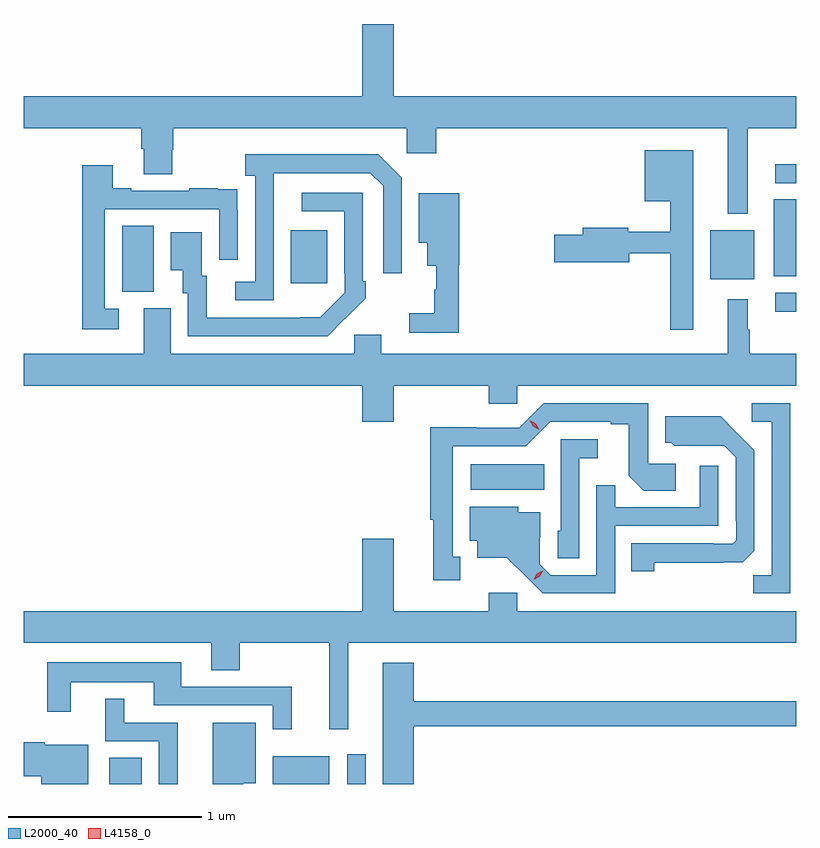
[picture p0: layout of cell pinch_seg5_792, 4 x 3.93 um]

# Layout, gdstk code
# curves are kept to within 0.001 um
import gdstk
lib = gdstk.Library(unit=1e-6, precision=1e-09)
def R(c, l, rs):  # rectangles x0, y0, x1, y1
    for r in rs: c.add(gdstk.rectangle(r[:2], r[2:], *l))
def P(c, l, *ps):  # polygons
    for p in ps: c.add(gdstk.Polygon(p, *l))
L2000_40 = (2000, 40)
L4158_0 = (4158, 0)

pinch_seg5_792 = lib.new_cell('pinch_seg5_792')
R(pinch_seg5_792, L2000_40, [(787.076,907.978,787.243,908.114), (787.922,907.978,788.215,908.122), (788.307,907.978,788.403,908.131), (788.946,909.5,789.326,909.634), (790.521,910.423,790.632,910.521), (787.142,910.525,787.306,910.868), (788.015,910.569,788.203,910.843), (790.187,910.589,790.414,910.843), (790.514,910.606,790.632,911.003), (790.521,911.088,790.632,911.184)])
P(pinch_seg5_792, L2000_40, [(790.381,911.372),(790.632,911.372),(790.632,911.536),(788.548,911.536),(788.548,911.911),(788.384,911.911),(788.384,911.536),(786.632,911.536),(786.632,911.372),(787.241,911.372),(787.241,911.266),(787.253,911.266),(787.253,911.134),(787.401,911.134),(787.401,911.259),(787.406,911.259),(787.406,911.372),(788.616,911.372),(788.616,911.241),(788.768,911.241),(788.768,911.372),(790.277,911.372),(790.277,910.928),(790.381,910.928)],
  [(790.099,911.257),(789.848,911.257),(789.848,910.994),(789.978,910.994),(789.978,910.837),(789.762,910.837),(789.762,910.856),(789.527,910.856),(789.527,910.82),(789.378,910.82),(789.378,910.678),(789.766,910.678),(789.766,910.724),(789.978,910.724),(789.978,910.329),(790.099,910.329)],
  [(787.926,910.939),(787.927,911.139),(788.427,911.139),(788.493,911.073),(788.493,910.62),(788.589,910.62),(788.589,911.115),(788.468,911.236),(787.779,911.236),(787.779,911.126),(787.83,911.126),(787.83,910.578),(787.728,910.578),(787.728,910.482),(787.926,910.482)],
  [(787.126,910.437),(787.053,910.437),(787.053,910.953),(787.644,910.953),(787.644,910.692),(787.74,910.692),(787.74,910.946),(787.739,910.946),(787.739,911.055),(787.637,911.055),(787.637,911.062),(787.489,911.062),(787.489,911.049),(787.189,911.049),(787.189,911.062),(787.093,911.062),(787.093,911.179),(786.937,911.179),(786.937,910.332),(787.126,910.332)],
  [(788.297,910.387),(788.298,910.386),(788.403,910.491),(788.403,910.579),(788.388,910.579),(788.388,911.037),(788.073,911.037),(788.073,910.941),(788.292,910.941),(788.292,910.621),(788.295,910.621),(788.295,910.521),(788.167,910.393),(787.579,910.392),(787.579,910.608),(787.555,910.608),(787.555,910.834),(787.394,910.834),(787.394,910.637),(787.457,910.637),(787.457,910.518),(787.482,910.518),(787.482,910.296),(788.206,910.296)],
  [(788.885,910.665),(788.886,910.665),(788.886,911.035),(788.678,911.035),(788.678,910.778),(788.72,910.778),(788.72,910.661),(788.768,910.661),(788.768,910.536),(788.757,910.536),(788.757,910.413),(788.628,910.413),(788.628,910.314),(788.885,910.314)],
  [(788.548,910.04),(789.04,910.04),(789.04,909.947),(789.186,909.947),(789.186,910.04),(790.632,910.04),(790.632,910.204),(790.391,910.204),(790.391,910.328),(790.381,910.328),(790.381,910.486),(790.277,910.486),(790.277,910.204),(788.482,910.204),(788.482,910.302),(788.343,910.302),(788.343,910.204),(787.393,910.204),(787.393,910.44),(787.253,910.44),(787.253,910.204),(786.632,910.204),(786.632,910.04),(788.384,910.04),(788.384,909.852),(788.548,909.852)],
  [(788.893,909.153),(788.854,909.153),(788.854,909.726),(789.231,909.726),(789.357,909.852),(789.671,909.852),(789.671,909.84),(789.765,909.84),(789.765,909.572),(789.841,909.496),(790.006,909.496),(790.006,909.636),(789.864,909.636),(789.864,909.948),(789.324,909.948),(789.198,909.822),(788.976,909.822),(788.976,909.824),(788.736,909.824),(788.736,909.345),(788.753,909.345),(788.753,909.033),(788.893,909.033)],
  [(790.599,909.948),(790.401,909.948),(790.401,909.852),(790.503,909.852),(790.503,909.059),(790.408,909.059),(790.408,908.964),(790.599,908.964)],
  [(789.897,909.124),(790.354,909.125),(790.413,909.184),(790.413,909.706),(790.241,909.88),(789.953,909.88),(789.953,909.744),(789.984,909.744),(790,909.728),(790.257,909.729),(790.317,909.669),(790.317,909.34),(790.32,909.34),(790.32,909.24),(790.302,909.222),(790.202,909.222),(790.202,909.225),(789.778,909.225),(789.778,909.078),(789.897,909.078)],
  [(789.507,909.665),(789.604,909.665),(789.604,909.762),(789.411,909.762),(789.411,909.288),(789.396,909.288),(789.396,909.145),(789.507,909.145)],
  [(789.693,909.315),(790.227,909.315),(790.227,909.625),(790.131,909.625),(790.131,909.411),(789.695,909.411),(789.695,909.524),(789.597,909.524),(789.597,909.057),(789.36,909.057),(789.303,909.114),(789.303,909.256),(789.307,909.256),(789.307,909.385),(789.192,909.385),(789.192,909.412),(788.942,909.412),(788.942,909.236),(788.981,909.236),(788.981,909.149),(789.133,909.149),(789.32,908.964),(789.693,908.964)],
  [(788.312,908.708),(790.632,908.708),(790.632,908.872),(789.186,908.872),(789.186,908.968),(789.04,908.968),(789.04,908.872),(788.548,908.872),(788.548,909.247),(788.384,909.247),(788.384,908.872),(786.632,908.872),(786.632,908.708),(787.604,908.708),(787.604,908.566),(787.752,908.566),(787.752,908.708),(788.213,908.708),(788.213,908.262),(788.312,908.262)],
  [(788.021,908.481),(787.447,908.481),(787.447,908.608),(786.756,908.608),(786.756,908.352),(786.877,908.352),(786.877,908.504),(787.307,908.504),(787.307,908.385),(787.923,908.385),(787.923,908.262),(788.021,908.262)],
  [(788.651,908.278),(790.632,908.278),(790.632,908.407),(788.651,908.407),(788.651,908.605),(788.492,908.605),(788.492,907.978),(788.651,907.978)],
  [(787.43,908.295),(787.153,908.295),(787.153,908.419),(787.055,908.419),(787.055,908.199),(787.332,908.199),(787.332,907.978),(787.43,907.978)],
  [(787.768,907.982),(787.834,907.982),(787.834,908.296),(787.61,908.296),(787.61,907.978),(787.768,907.978)],
  [(786.967,908.182),(786.741,908.182),(786.741,908.195),(786.632,908.195),(786.632,908.017),(786.725,908.017),(786.725,907.978),(786.967,907.978)])
P(pinch_seg5_792, L4158_0, [(789.272,909.036),(789.272,909.036),(789.289,909.065),(789.32,909.081),(789.32,909.081),(789.32,909.08),(789.302,909.051),(789.272,909.036)],
  [(789.301,909.811),(789.27,909.829),(789.252,909.861),(789.252,909.861),(789.252,909.861),(789.284,909.843),(789.302,909.811),(789.302,909.811)])

lib.write_gds('pinch_seg5_792.gds')
